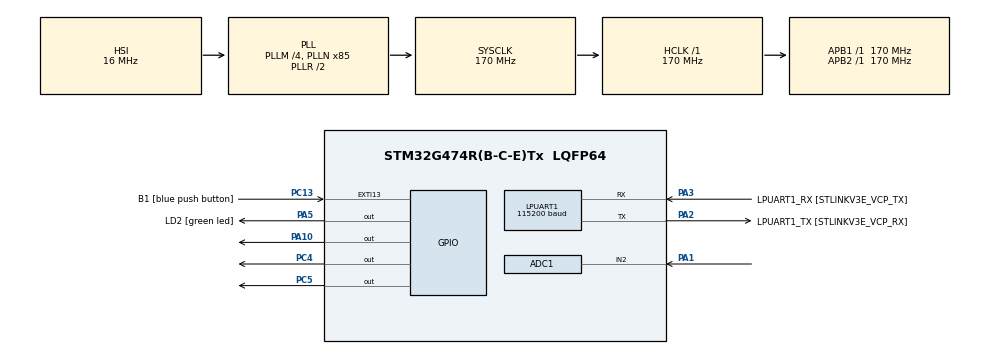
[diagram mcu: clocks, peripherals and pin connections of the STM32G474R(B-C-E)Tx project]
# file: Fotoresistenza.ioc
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ADC1.Channel-1\#ChannelRegularConversion=ADC_CHANNEL_2
ADC1.NbrOfConversionFlag=1
ADC1.OffsetNumber-1\#ChannelRegularConversion=ADC_OFFSET_NONE
ADC1.Rank-1\#ChannelRegularConversion=1
ADC1.SamplingTime-1\#ChannelRegularConversion=ADC_SAMPLETIME_2CYCLES_5
ADC1.master=1
LPUART1.BaudRate=115200
LPUART1.WordLength=UART_WORDLENGTH_8B
Mcu.Family=STM32G4
Mcu.Name=STM32G474R(B-C-E)Tx
Mcu.Package=LQFP64
NVIC.EXTI15_10_IRQn=true\:0\:0\:false\:false\:true\:true\:true\:true
NVIC.PriorityGroup=NVIC_PRIORITYGROUP_4
PA1.Mode=IN2-Single-Ended
PA1.Signal=ADC1_IN2
PA10.Signal=GPIO_Output
PA13.GPIO_Label=T_SWDIO
PA13.Mode=Serial_Wire
PA13.Signal=SYS_JTMS-SWDIO
PA14.GPIO_Label=T_SWCLK
PA14.Mode=Serial_Wire
PA14.Signal=SYS_JTCK-SWCLK
PA2.GPIO_Label=LPUART1_TX [STLINKV3E_VCP_RX]
PA2.Mode=Asynchronous
PA2.Signal=LPUART1_TX
PA3.GPIO_Label=LPUART1_RX [STLINKV3E_VCP_TX]
PA3.Mode=Asynchronous
PA3.Signal=LPUART1_RX
PA5.GPIO_Label=LD2 [green led]
PA5.Signal=GPIO_Output
PB3.GPIO_Label=T_SWO
PB3.Signal=SYS_JTDO-SWO
PC13.GPIO_Label=B1 [blue push button]
PC13.Signal=GPXTI13
PC14-OSC32_IN.Mode=LSE-External-Oscillator
PC14-OSC32_IN.Signal=RCC_OSC32_IN
PC15-OSC32_OUT.Mode=LSE-External-Oscillator
PC15-OSC32_OUT.Signal=RCC_OSC32_OUT
PC4.Signal=GPIO_Output
PC5.Signal=GPIO_Output
PF0-OSC_IN.Mode=HSE-External-Oscillator
PF0-OSC_IN.Signal=RCC_OSC_IN
PF1-OSC_OUT.Mode=HSE-External-Oscillator
PF1-OSC_OUT.Signal=RCC_OSC_OUT
ProjectManager.HeapSize=0x200
ProjectManager.StackSize=0x400
ProjectManager.TargetToolchain=STM32CubeIDE
RCC.ADC12Freq_Value=170000000
RCC.ADC345Freq_Value=170000000
RCC.AHBFreq_Value=170000000
RCC.APB1Freq_Value=170000000
RCC.APB1TimFreq_Value=170000000
RCC.APB2Freq_Value=170000000
RCC.APB2TimFreq_Value=170000000
RCC.CortexFreq_Value=170000000
RCC.EXTERNAL_CLOCK_VALUE=12288000
RCC.HCLKFreq_Value=170000000
RCC.HSE_VALUE=24000000
RCC.HSI48_VALUE=48000000
RCC.HSI_VALUE=16000000
RCC.PLLM=RCC_PLLM_DIV4
RCC.PLLN=85
RCC.RTCClockSelection=RCC_RTCCLKSOURCE_LSE
RCC.SYSCLKFreq_VALUE=170000000
RCC.SYSCLKSource=RCC_SYSCLKSOURCE_PLLCLK
RCC.USBFreq_Value=170000000
RCC.VCOOutputFreq_Value=340000000
VP_SYS_VS_DBSignals.Mode=DisableDeadBatterySignals
board=NUCLEO-G474RE

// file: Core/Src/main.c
/* USER CODE BEGIN Header */
/**
  ******************************************************************************
  * @file           : main.c
  * @brief          : Main program body
  ******************************************************************************
  * @attention
  *
  * Copyright (c) 2022 STMicroelectronics.
  * All rights reserved.
  *
  * This software is licensed under terms that can be found in the LICENSE file
  * in the root directory of this software component.
  * If no LICENSE file comes with this software, it is provided AS-IS.
  *
  ******************************************************************************
  */
/* USER CODE END Header */
#include "main.h"
#include <string.h>
#include <stdio.h>

ADC_HandleTypeDef hadc1;

UART_HandleTypeDef hlpuart1;

void SystemClock_Config(void);
static void MX_GPIO_Init(void);
static void MX_LPUART1_UART_Init(void);
static void MX_ADC1_Init(void);

int main(void)
{
  /* USER CODE BEGIN 1 */
	uint16_t AD_RES = 0;
	uint16_t lampeggio = 0;
	uint8_t MSG1[] = "Warning!: Undervoltage\r\n";
	uint8_t MSG2[] = "Warning!: Overvoltage\r\n";
	uint8_t MSG3[] = "Voltage:\r\n";
	uint8_t MSG4[] = "Button State: Pressed\r\n";
	 char msg[10];
  /* USER CODE END 1 */

  /* MCU Configuration--------------------------------------------------------*/

  /* Reset of all peripherals, Initializes the Flash interface and the Systick. */
  HAL_Init();

  /* Configure the system clock */
  SystemClock_Config();

  /* Initialize all configured peripherals */
  MX_GPIO_Init();
  MX_LPUART1_UART_Init();
  MX_ADC1_Init();
  /* USER CODE BEGIN 2 */
  HAL_ADC_Start(&hadc1);
  HAL_ADC_PollForConversion(&hadc1, 1);
  if(HAL_GPIO_ReadPin (GPIOC, GPIO_PIN_13))
 	      {
 	        HAL_UART_Transmit(&hlpuart1, MSG4, sizeof(MSG4), 100);

 	      }
  /* USER CODE END 2 */

  /* Infinite loop */
  while (1)
  {
	  /* USER CODE END 2 */

	  /* Infinite loop */

	    /* USER CODE END WHILE */
	   /* USER CODE BEGIN 3 */
	      HAL_ADC_Start(&hadc1);
	     // Poll ADC1 Perihperal & TimeOut = 200mSec
	      HAL_ADC_PollForConversion(&hadc1, 200);
	     // Read The ADC Conversion Result & Map It To PWM DutyCycle
	      AD_RES = HAL_ADC_GetValue(&hadc1);

	      //lampeggio = (AD_RES<<2)

	      if(HAL_GPIO_ReadPin (GPIOC, GPIO_PIN_13))
	     	      {
	     	        HAL_UART_Transmit(&hlpuart1, MSG4, sizeof(MSG4), 100);

	     	      }
	      else if(AD_RES<2234){
		      // LED RED ON
	    	  HAL_GPIO_WritePin(GPIOC, GPIO_PIN_4, GPIO_PIN_SET);
	    	  HAL_GPIO_WritePin(GPIOC, GPIO_PIN_5, GPIO_PIN_RESET);
	    	  HAL_UART_Transmit(&hlpuart1, MSG1, sizeof(MSG1), 100);
	      }
	      else if(AD_RES>3351){
		      // LED GREEn ON
	    	  HAL_GPIO_WritePin(GPIOC, GPIO_PIN_4, GPIO_PIN_RESET);
	    	  HAL_GPIO_WritePin(GPIOC, GPIO_PIN_5, GPIO_PIN_SET);
	    	  HAL_UART_Transmit(&hlpuart1, MSG2, sizeof(MSG2), 100);
	      }
	    	  HAL_GPIO_WritePin(GPIOC, GPIO_PIN_4, GPIO_PIN_RESET);
	    	  HAL_GPIO_WritePin(GPIOC, GPIO_PIN_5, GPIO_PIN_RESET);
	    	  sprintf(msg, "%hu\r\n", AD_RES);
	    	  HAL_UART_Transmit(&hlpuart1, MSG3, sizeof(MSG3), 1000);
	    	  HAL_UART_Transmit(&hlpuart1, (uint8_t*)msg, strlen(msg), 1000);

	      /*
	      HAL_GPIO_WritePin(GPIOC, GPIO_PIN_4, GPIO_PIN_SET);
	      HAL_GPIO_WritePin(GPIOC, GPIO_PIN_5, GPIO_PIN_SET);
	      HAL_GPIO_WritePin(GPIOA, GPIO_PIN_10, GPIO_PIN_SET);
	      HAL_Delay(lampeggio);
	      // LED OFF
	      HAL_GPIO_WritePin(GPIOC, GPIO_PIN_4, GPIO_PIN_RESET);
	      HAL_GPIO_WritePin(GPIOC, GPIO_PIN_5, GPIO_PIN_RESET);
	      HAL_GPIO_WritePin(GPIOA, GPIO_PIN_10, GPIO_PIN_RESET);
	      HAL_Delay(lampeggio);
	      HAL_Delay(1);

  /* USER CODE END 3 */
  }
}

void SystemClock_Config(void)
{
  RCC_OscInitTypeDef RCC_OscInitStruct = {0};
  RCC_ClkInitTypeDef RCC_ClkInitStruct = {0};

  /** Configure the main internal regulator output voltage
  */
  HAL_PWREx_ControlVoltageScaling(PWR_REGULATOR_VOLTAGE_SCALE1_BOOST);

  /** Initializes the RCC Oscillators according to the specified parameters
  * in the RCC_OscInitTypeDef structure.
  */
  RCC_OscInitStruct.OscillatorType = RCC_OSCILLATORTYPE_HSI;
  RCC_OscInitStruct.HSIState = RCC_HSI_ON;
  RCC_OscInitStruct.HSICalibrationValue = RCC_HSICALIBRATION_DEFAULT;
  RCC_OscInitStruct.PLL.PLLState = RCC_PLL_ON;
  RCC_OscInitStruct.PLL.PLLSource = RCC_PLLSOURCE_HSI;
  RCC_OscInitStruct.PLL.PLLM = RCC_PLLM_DIV4;
  RCC_OscInitStruct.PLL.PLLN = 85;
  RCC_OscInitStruct.PLL.PLLP = RCC_PLLP_DIV2;
  RCC_OscInitStruct.PLL.PLLQ = RCC_PLLQ_DIV2;
  RCC_OscInitStruct.PLL.PLLR = RCC_PLLR_DIV2;
  if (HAL_RCC_OscConfig(&RCC_OscInitStruct) != HAL_OK)
  {
    Error_Handler();
  }

  /** Initializes the CPU, AHB and APB buses clocks
  */
  RCC_ClkInitStruct.ClockType = RCC_CLOCKTYPE_HCLK|RCC_CLOCKTYPE_SYSCLK
                              |RCC_CLOCKTYPE_PCLK1|RCC_CLOCKTYPE_PCLK2;
  RCC_ClkInitStruct.SYSCLKSource = RCC_SYSCLKSOURCE_PLLCLK;
  RCC_ClkInitStruct.AHBCLKDivider = RCC_SYSCLK_DIV1;
  RCC_ClkInitStruct.APB1CLKDivider = RCC_HCLK_DIV1;
  RCC_ClkInitStruct.APB2CLKDivider = RCC_HCLK_DIV1;

  if (HAL_RCC_ClockConfig(&RCC_ClkInitStruct, FLASH_LATENCY_4) != HAL_OK)
  {
    Error_Handler();
  }
}

static void MX_ADC1_Init(void)
{

  ADC_MultiModeTypeDef multimode = {0};
  ADC_ChannelConfTypeDef sConfig = {0};

  /** Common config
  */
  hadc1.Instance = ADC1;
  hadc1.Init.ClockPrescaler = ADC_CLOCK_SYNC_PCLK_DIV4;
  hadc1.Init.Resolution = ADC_RESOLUTION_12B;
  hadc1.Init.DataAlign = ADC_DATAALIGN_RIGHT;
  hadc1.Init.GainCompensation = 0;
  hadc1.Init.ScanConvMode = ADC_SCAN_DISABLE;
  hadc1.Init.EOCSelection = ADC_EOC_SINGLE_CONV;
  hadc1.Init.LowPowerAutoWait = DISABLE;
  hadc1.Init.ContinuousConvMode = DISABLE;
  hadc1.Init.NbrOfConversion = 1;
  hadc1.Init.DiscontinuousConvMode = DISABLE;
  hadc1.Init.ExternalTrigConv = ADC_SOFTWARE_START;
  hadc1.Init.ExternalTrigConvEdge = ADC_EXTERNALTRIGCONVEDGE_NONE;
  hadc1.Init.DMAContinuousRequests = DISABLE;
  hadc1.Init.Overrun = ADC_OVR_DATA_PRESERVED;
  hadc1.Init.OversamplingMode = DISABLE;
  if (HAL_ADC_Init(&hadc1) != HAL_OK)
  {
    Error_Handler();
  }

  /** Configure the ADC multi-mode
  */
  multimode.Mode = ADC_MODE_INDEPENDENT;
  if (HAL_ADCEx_MultiModeConfigChannel(&hadc1, &multimode) != HAL_OK)
  {
    Error_Handler();
  }

  /** Configure Regular Channel
  */
  sConfig.Channel = ADC_CHANNEL_2;
  sConfig.Rank = ADC_REGULAR_RANK_1;
  sConfig.SamplingTime = ADC_SAMPLETIME_2CYCLES_5;
  sConfig.SingleDiff = ADC_SINGLE_ENDED;
  sConfig.OffsetNumber = ADC_OFFSET_NONE;
  sConfig.Offset = 0;
  if (HAL_ADC_ConfigChannel(&hadc1, &sConfig) != HAL_OK)
  {
    Error_Handler();
  }

}

static void MX_LPUART1_UART_Init(void)
{

  hlpuart1.Instance = LPUART1;
  hlpuart1.Init.BaudRate = 115200;
  hlpuart1.Init.WordLength = UART_WORDLENGTH_8B;
  hlpuart1.Init.StopBits = UART_STOPBITS_1;
  hlpuart1.Init.Parity = UART_PARITY_NONE;
  hlpuart1.Init.Mode = UART_MODE_TX_RX;
  hlpuart1.Init.HwFlowCtl = UART_HWCONTROL_NONE;
  hlpuart1.Init.OneBitSampling = UART_ONE_BIT_SAMPLE_DISABLE;
  hlpuart1.Init.ClockPrescaler = UART_PRESCALER_DIV1;
  hlpuart1.AdvancedInit.AdvFeatureInit = UART_ADVFEATURE_NO_INIT;
  if (HAL_UART_Init(&hlpuart1) != HAL_OK)
  {
    Error_Handler();
  }
  if (HAL_UARTEx_SetTxFifoThreshold(&hlpuart1, UART_TXFIFO_THRESHOLD_1_8) != HAL_OK)
  {
    Error_Handler();
  }
  if (HAL_UARTEx_SetRxFifoThreshold(&hlpuart1, UART_RXFIFO_THRESHOLD_1_8) != HAL_OK)
  {
    Error_Handler();
  }
  if (HAL_UARTEx_DisableFifoMode(&hlpuart1) != HAL_OK)
  {
    Error_Handler();
  }

}

static void MX_GPIO_Init(void)
{
  GPIO_InitTypeDef GPIO_InitStruct = {0};

  /* GPIO Ports Clock Enable */
  __HAL_RCC_GPIOC_CLK_ENABLE();
  __HAL_RCC_GPIOF_CLK_ENABLE();
  __HAL_RCC_GPIOA_CLK_ENABLE();
  __HAL_RCC_GPIOB_CLK_ENABLE();

  /*Configure GPIO pin Output Level */
  HAL_GPIO_WritePin(GPIOA, LD2_Pin|GPIO_PIN_10, GPIO_PIN_RESET);

  /*Configure GPIO pin Output Level */
  HAL_GPIO_WritePin(GPIOC, GPIO_PIN_4|GPIO_PIN_5, GPIO_PIN_RESET);

  /*Configure GPIO pin : B1_Pin */
  GPIO_InitStruct.Pin = B1_Pin;
  GPIO_InitStruct.Mode = GPIO_MODE_IT_RISING;
  GPIO_InitStruct.Pull = GPIO_NOPULL;
  HAL_GPIO_Init(B1_GPIO_Port, &GPIO_InitStruct);

  /*Configure GPIO pins : LD2_Pin PA10 */
  GPIO_InitStruct.Pin = LD2_Pin|GPIO_PIN_10;
  GPIO_InitStruct.Mode = GPIO_MODE_OUTPUT_PP;
  GPIO_InitStruct.Pull = GPIO_NOPULL;
  GPIO_InitStruct.Speed = GPIO_SPEED_FREQ_LOW;
  HAL_GPIO_Init(GPIOA, &GPIO_InitStruct);

  /*Configure GPIO pins : PC4 PC5 */
  GPIO_InitStruct.Pin = GPIO_PIN_4|GPIO_PIN_5;
  GPIO_InitStruct.Mode = GPIO_MODE_OUTPUT_PP;
  GPIO_InitStruct.Pull = GPIO_NOPULL;
  GPIO_InitStruct.Speed = GPIO_SPEED_FREQ_LOW;
  HAL_GPIO_Init(GPIOC, &GPIO_InitStruct);

  /* EXTI interrupt init*/
  HAL_NVIC_SetPriority(EXTI15_10_IRQn, 0, 0);
  HAL_NVIC_EnableIRQ(EXTI15_10_IRQn);

}

void Error_Handler(void)
{
  __disable_irq();
  while (1)
  {
  }
}
